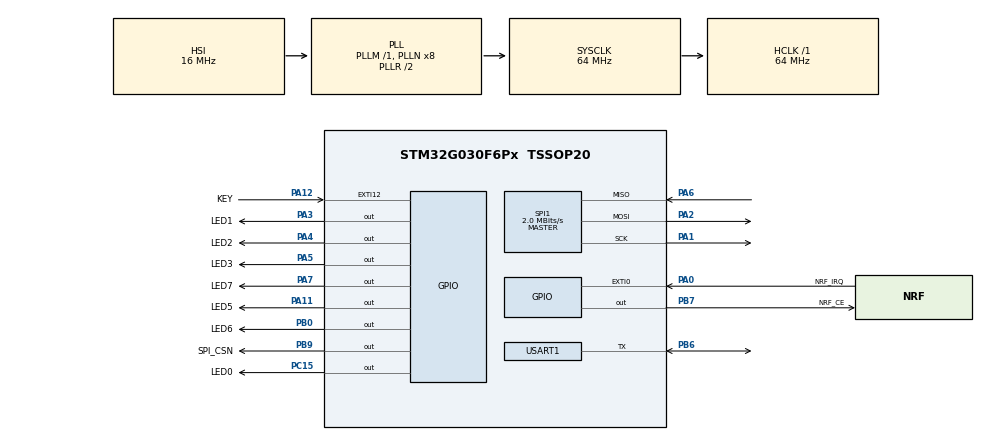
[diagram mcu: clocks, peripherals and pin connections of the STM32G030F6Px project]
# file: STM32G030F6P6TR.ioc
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ADC1.Channel-1\#ChannelRegularConversion=ADC_CHANNEL_VREFINT
ADC1.NbrOfConversion=1
ADC1.NbrOfConversionFlag=1
ADC1.Rank-1\#ChannelRegularConversion=1
ADC1.SamplingTime-1\#ChannelRegularConversion=ADC_SAMPLINGTIME_COMMON_1
ADC1.SelectedChannel=ADC_CHANNEL_VREFINT
ADC1.master=1
FREERTOS.Tasks01=defaultTask,0,128,StartDefaultTask,Default,NULL,Dynamic,NULL,NULL
Mcu.Family=STM32G0
Mcu.Name=STM32G030F6Px
Mcu.Package=TSSOP20
NVIC.EXTI0_1_IRQn=true\:3\:0\:false\:false\:true\:true\:true\:true\:true
NVIC.EXTI4_15_IRQn=true\:3\:0\:false\:false\:true\:true\:true\:true\:true
NVIC.TIM14_IRQn=true\:3\:0\:false\:false\:true\:false\:false\:true\:true
NVIC.TIM3_IRQn=true\:3\:0\:false\:false\:true\:true\:true\:true\:true
NVIC.TimeBase=TIM14_IRQn
NVIC.TimeBaseIP=TIM14
PA0.GPIO_Label=NRF_IRQ
PA0.Signal=GPXTI0
PA1.Mode=Full_Duplex_Master
PA1.Signal=SPI1_SCK
PA11\ [PA9].GPIO_Label=LED5
PA11\ [PA9].Signal=GPIO_Output
PA12\ [PA10].GPIO_Label=KEY
PA12\ [PA10].GPIO_ModeDefaultEXTI=GPIO_MODE_IT_FALLING
PA12\ [PA10].GPIO_PuPd=GPIO_PULLUP
PA12\ [PA10].Signal=GPXTI12
PA13.Mode=Serial_Wire
PA13.Signal=SYS_SWDIO
PA14-BOOT0.Mode=Serial_Wire
PA14-BOOT0.Signal=SYS_SWCLK
PA14-BOOT0__PA15.StandardMode=true
PA2.Mode=Full_Duplex_Master
PA2.Signal=SPI1_MOSI
PA3.GPIO_Label=LED1
PA3.Signal=GPIO_Output
PA4.GPIO_Label=LED2
PA4.Signal=GPIO_Output
PA5.GPIO_Label=LED3
PA5.Signal=GPIO_Output
PA6.Mode=Full_Duplex_Master
PA6.Signal=SPI1_MISO
PA7.GPIO_Label=LED7
PA7.Signal=GPIO_Output
PB0.GPIO_Label=LED6
PB0.Signal=GPIO_Output
PB0__PB1__PB2__PA8.StandardMode=true
PB3__PB4__PB5__PB6.StandardMode=true
PB6.Mode=Half_duplex(single_wire_mode)
PB6.Signal=USART1_TX
PB7.GPIO_Label=NRF_CE
PB7.Signal=GPIO_Output
PB7__PB8.StandardMode=true
PB9.GPIO_Label=SPI_CSN
PB9.Signal=GPIO_Output
PC14-OSC32_IN\ (PC14)__PB9.StandardMode=true
PC15-OSC32_OUT\ (PC15).GPIO_Label=LED0
PC15-OSC32_OUT\ (PC15).Signal=GPIO_Output
ProjectManager.HeapSize=0x200
ProjectManager.StackSize=0x400
ProjectManager.TargetToolchain=MDK-ARM V5.32
RCC.ADCFreq_Value=64000000
RCC.AHBFreq_Value=64000000
RCC.CortexFreq_Value=64000000
RCC.EXTERNAL_CLOCK_VALUE=12288000
RCC.HCLKFreq_Value=64000000
RCC.HSE_VALUE=8000000
RCC.HSI_VALUE=16000000
RCC.LSE_VALUE=32768
RCC.SYSCLKFreq_VALUE=64000000
RCC.SYSCLKSource=RCC_SYSCLKSOURCE_PLLCLK
RCC.VCOOutputFreq_Value=128000000
SPI1.BaudRatePrescaler=SPI_BAUDRATEPRESCALER_32
SPI1.CalculateBaudRate=2.0 MBits/s
SPI1.Direction=SPI_DIRECTION_2LINES
SPI1.Mode=SPI_MODE_MASTER
SPI1.VirtualType=VM_MASTER
TIM3.Period=500
TIM3.Prescaler=64000
USART1.VirtualMode-Half_duplex(single_wire_mode)=VM_ASYNC
VP_ADC1_Vref_Input.Mode=IN-Vrefint
VP_FREERTOS_VS_CMSIS_V1.Mode=CMSIS_V1
VP_SYS_VS_tim14.Mode=TIM14
VP_TIM1_VS_ClockSourceINT.Mode=Internal
VP_TIM3_VS_ClockSourceINT.Mode=Internal
board=custom

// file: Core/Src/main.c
/* USER CODE BEGIN Header */
/**
  ******************************************************************************
  * @file           : main.c
  * @brief          : Main program body
  ******************************************************************************
  * @attention
  *
  * Copyright (c) 2023 STMicroelectronics.
  * All rights reserved.
  *
  * This software is licensed under terms that can be found in the LICENSE file
  * in the root directory of this software component.
  * If no LICENSE file comes with this software, it is provided AS-IS.
  *
  ******************************************************************************
  */
/* USER CODE END Header */
#include "main.h"
#include "cmsis_os.h"
#include "adc.h"
#include "spi.h"
#include "tim.h"
#include "usart.h"
#include "gpio.h"

/* USER CODE BEGIN Includes */
#include "../common.h"
/* USER CODE END Includes */

void SystemClock_Config(void);
void MX_FREERTOS_Init(void);

int main(void)
{

  /* MCU Configuration--------------------------------------------------------*/

  /* Reset of all peripherals, Initializes the Flash interface and the Systick. */
  HAL_Init();

  /* Configure the system clock */
  SystemClock_Config();

  /* Initialize all configured peripherals */
  MX_GPIO_Init();
  MX_ADC1_Init();
  MX_SPI1_Init();
  MX_TIM1_Init();
  MX_USART1_UART_Init();
  MX_TIM3_Init();

  /* Call init function for freertos objects (in freertos.c) */
  MX_FREERTOS_Init();

  /* Start scheduler */
  osKernelStart();

  /* We should never get here as control is now taken by the scheduler */
  /* Infinite loop */
  while (1)
  {

  }
}

void SystemClock_Config(void)
{
  RCC_OscInitTypeDef RCC_OscInitStruct = {0};
  RCC_ClkInitTypeDef RCC_ClkInitStruct = {0};

  /** Configure the main internal regulator output voltage
  */
  HAL_PWREx_ControlVoltageScaling(PWR_REGULATOR_VOLTAGE_SCALE1);

  /** Initializes the RCC Oscillators according to the specified parameters
  * in the RCC_OscInitTypeDef structure.
  */
  RCC_OscInitStruct.OscillatorType = RCC_OSCILLATORTYPE_HSI;
  RCC_OscInitStruct.HSIState = RCC_HSI_ON;
  RCC_OscInitStruct.HSIDiv = RCC_HSI_DIV1;
  RCC_OscInitStruct.HSICalibrationValue = RCC_HSICALIBRATION_DEFAULT;
  RCC_OscInitStruct.PLL.PLLState = RCC_PLL_ON;
  RCC_OscInitStruct.PLL.PLLSource = RCC_PLLSOURCE_HSI;
  RCC_OscInitStruct.PLL.PLLM = RCC_PLLM_DIV1;
  RCC_OscInitStruct.PLL.PLLN = 8;
  RCC_OscInitStruct.PLL.PLLP = RCC_PLLP_DIV2;
  RCC_OscInitStruct.PLL.PLLR = RCC_PLLR_DIV2;
  if (HAL_RCC_OscConfig(&RCC_OscInitStruct) != HAL_OK)
  {
    Error_Handler();
  }

  /** Initializes the CPU, AHB and APB buses clocks
  */
  RCC_ClkInitStruct.ClockType = RCC_CLOCKTYPE_HCLK|RCC_CLOCKTYPE_SYSCLK
                              |RCC_CLOCKTYPE_PCLK1;
  RCC_ClkInitStruct.SYSCLKSource = RCC_SYSCLKSOURCE_PLLCLK;
  RCC_ClkInitStruct.AHBCLKDivider = RCC_SYSCLK_DIV1;
  RCC_ClkInitStruct.APB1CLKDivider = RCC_HCLK_DIV1;

  if (HAL_RCC_ClockConfig(&RCC_ClkInitStruct, FLASH_LATENCY_2) != HAL_OK)
  {
    Error_Handler();
  }
}

void HAL_TIM_PeriodElapsedCallback(TIM_HandleTypeDef *htim)
{
  /* USER CODE BEGIN Callback 0 */
	BaseType_t phpt;
	static uint8_t keyTime;
  /* USER CODE END Callback 0 */
  if (htim->Instance == TIM14) {
    HAL_IncTick();
  }
  /* USER CODE BEGIN Callback 1 */
	if (htim->Instance == TIM1) {
  }
	if (htim->Instance == TIM3) {
		//按键定时
		if ( str.preKey == 1 ) {
			LED0_ON();
			keyTime++;
			if ( keyTime > 4 ) {//2s
				keyTime = 0;
				str.preKey = 0;
				if ( nrf_str.regSta != 1 ) LED0_OFF();
				__HAL_GPIO_EXTI_CLEAR_IT(KEY_Pin);
				HAL_NVIC_EnableIRQ(KEY_EXTI_IRQn);
			}
		} else if ( nrf_str.regSta==1 || nrf_str.regSta==4 ) {//注册/等待注册反馈
			LED0_TOGGLE();
			if ( nrf_str.regSta == 4 ) {
				if ( nrf_str.reg4Num++ > 4 ) {
					nrf_str.reg4Num = 0;
					nrf_str.regSta = 1;
					xTaskNotifyFromISR( nrf_control_taskHandle, 1U<<NRF_REGISTER_DEVICE, eSetBits, &phpt );//发送心跳
				}
			}

		} else if ( nrf_str.regSta == 2 ) {//通信定时,10s发一次心跳
			nrf_str.heartTime++;
			if ( nrf_str.heartTime > 20 ) {
				nrf_str.heartTime = 0;
				nrf_str.regSta = 3;
				xTaskNotifyFromISR( nrf_control_taskHandle, 1U<<NRF_HEARTBEAT, eSetBits, &phpt );//发送心跳
			}
		}
	}
  /* USER CODE END Callback 1 */
}

void Error_Handler(void)
{
  __disable_irq();
  while (1)
  {
  }
}

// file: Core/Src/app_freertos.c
/* USER CODE BEGIN Header */
/**
  ******************************************************************************
  * File Name          : app_freertos.c
  * Description        : Code for freertos applications
  ******************************************************************************
  * @attention
  *
  * Copyright (c) 2023 STMicroelectronics.
  * All rights reserved.
  *
  * This software is licensed under terms that can be found in the LICENSE file
  * in the root directory of this software component.
  * If no LICENSE file comes with this software, it is provided AS-IS.
  *
  ******************************************************************************
  */
/* USER CODE END Header */

#include "FreeRTOS.h"
#include "task.h"
#include "main.h"
#include "cmsis_os.h"

/* USER CODE BEGIN Includes */
#include "../common.h"
/* USER CODE END Includes */

/* USER CODE BEGIN PTD */
STR str;
/* USER CODE END PTD */

/* USER CODE BEGIN Variables */
TaskHandle_t nrf_control_taskHandle;
TaskHandle_t executive_taskHandle;
/* USER CODE END Variables */
osThreadId defaultTaskHandle;

/* USER CODE BEGIN FunctionPrototypes */
#ifdef DEBUG_ENABLE
void debugTaskFun(void const * argument);
#endif
void executive_task_fun(void const * argument);
void nrf_control_task_fun(void const * argument);
/* USER CODE END FunctionPrototypes */

void StartDefaultTask(void const * argument);

void MX_FREERTOS_Init(void); /* (MISRA C 2004 rule 8.1) */

void MX_FREERTOS_Init(void) {

  /* Create the thread(s) */
  /* definition and creation of defaultTask */
  osThreadDef(defaultTask, StartDefaultTask, osPriorityNormal, 0, 128);
  defaultTaskHandle = osThreadCreate(osThread(defaultTask), NULL);

  /* USER CODE BEGIN RTOS_THREADS */
  /* add threads, ... */
#ifdef DEBUG_ENABLE
	osThreadDef(debugTask, debugTaskFun, osPriorityNormal, 0, debugTaskSize);
  debugTaskHandle = osThreadCreate(osThread(debugTask), NULL);
#endif

	osThreadDef(nrf_control_task, nrf_control_task_fun, osPriorityNormal, 0, nrf_control_taskSize);
  nrf_control_taskHandle = osThreadCreate(osThread(nrf_control_task), NULL);

	osThreadDef(executive_task, executive_task_fun, osPriorityNormal, 0, executive_taskSize);
  executive_taskHandle = osThreadCreate(osThread(executive_task), NULL);
  /* USER CODE END RTOS_THREADS */

}

void StartDefaultTask(void const * argument)
{
  /* USER CODE BEGIN StartDefaultTask */
  /* Infinite loop */
  for(;;)
  {
		read_data_from_flash();
		getSnByDeviceId_setClientId();
		LED_ALL_OFF();
		HAL_TIM_Base_Start_IT( &htim3 );
		HAL_TIM_Base_Start( &htim3 );

		xTaskNotify( nrf_control_taskHandle, 1U<<NRF_INIT_EVENT, eSetBits );
		vTaskDelay(100);
		xTaskNotify( nrf_control_taskHandle, 1U<<NRF_REGISTER_DEVICE, eSetBits );

		printf("init ok\r\n");
		vTaskDelete( defaultTaskHandle );
  }
  /* USER CODE END StartDefaultTask */
}

/* USER CODE BEGIN Application */

/*--------------- LED ----------------*/
void executive_task_fun(void const * argument) {
	uint32_t newBits, oldBits = 0;
  for(;;) {
		xTaskNotifyWait( pdFALSE, portMAX_DELAY, &newBits, portMAX_DELAY );
		oldBits |= newBits;
		if ( oldBits & (1U<<LED_MODE_0) ) {
			oldBits &=~ (1U<<LED_MODE_0);
			led_mode_0_fun();
		}
		if ( oldBits & (1U<<LED_MODE_OFF) ) {
			oldBits &=~ (1U<<LED_MODE_OFF);
			led_mode_off_fun();
		}
  }
}
/*--------------- LED ----------------*/

/*--------------- NRF24 ----------------*/
void nrf_control_task_fun(void const * argument) {
	uint32_t newBits, oldBits = 0;

  for(;;) {
		xTaskNotifyWait( pdFALSE, portMAX_DELAY, &newBits, portMAX_DELAY );
		oldBits |= newBits;
		if ( oldBits & (1U<<NRF_INIT_EVENT) ) {
			oldBits &=~ (1U<<NRF_INIT_EVENT);
			nrf_init();
		}
		if ( oldBits & (1U<<NRF_SEND_DATA) ) {
			oldBits &=~ (1U<<NRF_SEND_DATA);
			nrf_send_data();
		}
		if ( oldBits & (1U<<NRF_PARSE_DATA) ) {
			oldBits &=~ (1U<<NRF_PARSE_DATA);
			nrf_parse_data();
		}
		if ( oldBits & (1U<<NRF_REGISTER_DEVICE) ) {
			oldBits &=~ (1U<<NRF_REGISTER_DEVICE);
			nrf_register_device();
		}
		if ( oldBits & (1U<<NRF_HEARTBEAT) ) {
			oldBits &=~ (1U<<NRF_HEARTBEAT);
			nrf_send_heartbeat();
		}
		if ( oldBits & (1U<<SEND_KEY_DOWN) ) {
			oldBits &=~ (1U<<SEND_KEY_DOWN);
			nrf_push_data("按键按下");
		}
  }
}
/*--------------- NRF24 ----------------*/

/* USER CODE END Application */
